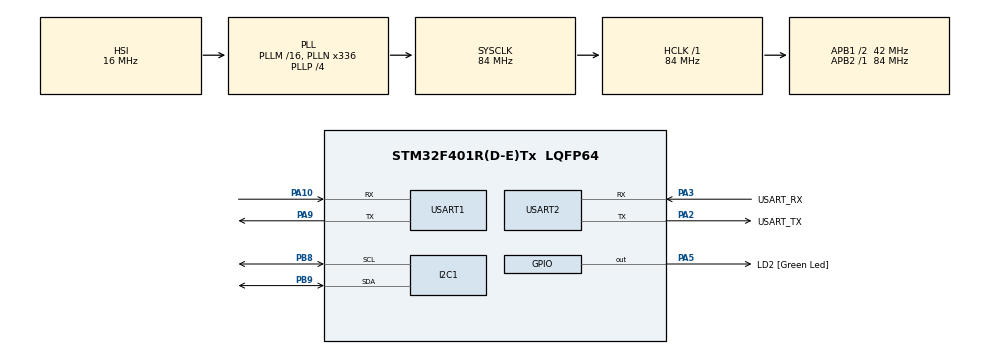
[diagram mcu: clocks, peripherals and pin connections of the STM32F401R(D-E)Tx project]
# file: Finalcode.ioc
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Mcu.Family=STM32F4
Mcu.Name=STM32F401R(D-E)Tx
Mcu.Package=LQFP64
NVIC.PriorityGroup=NVIC_PRIORITYGROUP_0
PA10.Mode=Asynchronous
PA10.Signal=USART1_RX
PA13.GPIO_Label=TMS
PA13.Mode=Serial_Wire
PA13.Signal=SYS_JTMS-SWDIO
PA14.GPIO_Label=TCK
PA14.Mode=Serial_Wire
PA14.Signal=SYS_JTCK-SWCLK
PA2.GPIO_Label=USART_TX
PA2.GPIO_Mode=GPIO_MODE_AF_PP
PA2.GPIO_PuPd=GPIO_NOPULL
PA2.GPIO_Speed=GPIO_SPEED_FREQ_LOW
PA2.Mode=Asynchronous
PA2.Signal=USART2_TX
PA3.GPIO_Label=USART_RX
PA3.GPIO_Mode=GPIO_MODE_AF_PP
PA3.GPIO_PuPd=GPIO_NOPULL
PA3.GPIO_Speed=GPIO_SPEED_FREQ_LOW
PA3.Mode=Asynchronous
PA3.Signal=USART2_RX
PA5.GPIO_Label=LD2 [Green Led]
PA5.GPIO_Mode=GPIO_MODE_OUTPUT_PP
PA5.GPIO_PuPd=GPIO_NOPULL
PA5.GPIO_Speed=GPIO_SPEED_FREQ_LOW
PA5.Signal=GPIO_Output
PA9.Mode=Asynchronous
PA9.Signal=USART1_TX
PB3.GPIO_Label=SWO
PB3.Signal=SYS_JTDO-SWO
PB8.Mode=I2C
PB8.Signal=I2C1_SCL
PB9.Mode=I2C
PB9.Signal=I2C1_SDA
PC14-OSC32_IN.Mode=LSE-External-Oscillator
PC14-OSC32_IN.Signal=RCC_OSC32_IN
PC15-OSC32_OUT.Mode=LSE-External-Oscillator
PC15-OSC32_OUT.Signal=RCC_OSC32_OUT
PH0\ -\ OSC_IN.Mode=HSE-External-Clock-Source
PH0\ -\ OSC_IN.Signal=RCC_OSC_IN
PH1\ -\ OSC_OUT.Mode=HSE-External-Clock-Source
PH1\ -\ OSC_OUT.Signal=RCC_OSC_OUT
ProjectManager.HeapSize=0x200
ProjectManager.StackSize=0x400
ProjectManager.TargetToolchain=STM32CubeIDE
RCC.48MHZClocksFreq_Value=48000000
RCC.AHBFreq_Value=84000000
RCC.APB1CLKDivider=RCC_HCLK_DIV2
RCC.APB1Freq_Value=42000000
RCC.APB1TimFreq_Value=84000000
RCC.APB2Freq_Value=84000000
RCC.APB2TimFreq_Value=84000000
RCC.CortexFreq_Value=84000000
RCC.HCLKFreq_Value=84000000
RCC.HSE_VALUE=8000000
RCC.HSI_VALUE=16000000
RCC.PLLN=336
RCC.PLLP=RCC_PLLP_DIV4
RCC.PLLQ=7
RCC.SYSCLKFreq_VALUE=84000000
RCC.SYSCLKSource=RCC_SYSCLKSOURCE_PLLCLK
RCC.VCOOutputFreq_Value=336000000
USART1.VirtualMode=VM_ASYNC
USART2.VirtualMode=VM_ASYNC
board=NUCLEO-F401RE

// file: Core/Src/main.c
/* USER CODE BEGIN Header */
/**
  ******************************************************************************
  * @file           : main.c
  * @brief          : Main program body
  ******************************************************************************
  * @attention
  *
  * <h2><center>&copy; Copyright (c) 2021 STMicroelectronics.
  * All rights reserved.</center></h2>
  *
  * This software component is licensed by ST under BSD 3-Clause license,
  * the "License"; You may not use this file except in compliance with the
  * License. You may obtain a copy of the License at:
  *                        opensource.org/licenses/BSD-3-Clause
  *
  ******************************************************************************
  */
/* USER CODE END Header */
#include "main.h"

/* USER CODE BEGIN Includes */
#include <string.h>
/* USER CODE END Includes */

I2C_HandleTypeDef hi2c1;

UART_HandleTypeDef huart1;
UART_HandleTypeDef huart2;

/* USER CODE BEGIN PV */
static const uint8_t HIH7000_ADDR = 0x27 << 1; 							// Use 7-bit address
static const uint8_t MiCS_VZ89_ADDR = 0x70 << 1; 							// Use 7-bit address

/* USER CODE END PV */

void SystemClock_Config(void);
static void MX_GPIO_Init(void);
static void MX_USART2_UART_Init(void);
static void MX_USART1_UART_Init(void);
static void MX_I2C1_Init(void);

int main(void)
{
  /* USER CODE BEGIN 1 */
  HAL_StatusTypeDef ret;

  uint8_t string_buf[50];
  uint8_t string_buf_transmit[50];
  uint8_t data_buf[6];			// HIH7000 requires 4 bytes, MICSVZ89 requires 6 bytes

  uint8_t status = 0;
  int16_t rawTemp = 0;
  int16_t rawHumid = 0;

  float humid = 0;
  float temp = 0;

  unsigned int decHumid = 0;
  unsigned int fracHumid = 0;
  unsigned int decTemp = 0;
  unsigned int fracTemp = 0;

  int tVOC = 200;
  int CO2 = 150;

  /* USER CODE END 1 */

  /* MCU Configuration--------------------------------------------------------*/

  /* Reset of all peripherals, Initializes the Flash interface and the Systick. */
  HAL_Init();

  /* Configure the system clock */
  SystemClock_Config();

  /* Initialize all configured peripherals */
  MX_GPIO_Init();
  MX_USART2_UART_Init();
  MX_USART1_UART_Init();
  MX_I2C1_Init();

  /* Infinite loop */
  /* USER CODE BEGIN WHILE */
  while (1)
  {
	  // ******************************************
	  // RELTATIVE HUMIDITY AND TEMPERATURE SENSING
	  // ******************************************

	  // Manually set what we want to write to the sensor (address)
	  data_buf[0] = 0x00;

	  // Tell HIH7000 that we want to read from the register
	  ret = HAL_I2C_Master_Transmit(&hi2c1, HIH7000_ADDR, data_buf, 1, HAL_MAX_DELAY);
	  HAL_Delay(250);
	  if ( ret != HAL_OK ) {
		  strcpy((char*)string_buf, "{\"status\": \"error\", \"source\": \"nucleo\", \"msg\": \"Temp&Humid: Error Tx\"}\r\n");}
	  else {
		  // Read 4 bytes from the HIH7000 register
		  ret = HAL_I2C_Master_Receive(&hi2c1, HIH7000_ADDR, data_buf, 4, HAL_MAX_DELAY);
		  HAL_Delay(250);
		  if ( ret != HAL_OK ) {
			  strcpy((char*)string_buf, "{\"status\": \"error\", \"source\": \"nucleo\", \"msg\": \"Temp&Humid: Error Rx\"}\r\n");}
		  else {

			  // Process the data

			  // The two leftmost MSB's of buf[0] are the status bits. We need to shift 6 times to the right to get those.
			  status = data_buf[0] >> 6;

			  // The next 14 bits are the raw humidity data bits
			  rawHumid = ((uint16_t)(data_buf[0] & 0x3f) << 8) | data_buf[1];

			  // The next 14 bits are the raw temperature data bits
			  rawTemp = (((uint16_t)data_buf[2] << 6) | (data_buf[3] >> 2));

			  // Process the humidity and temperature data
			  humid = ((float)rawHumid / 16382.0) * 100.0;
			  temp = ((float)rawTemp / 16382.0) * 165.0 - 40.0;

			  // Get the value before and after the decimal point
			  decHumid = (unsigned int) humid;
			  fracHumid = (humid - (float)decHumid)*100;
			  decTemp = (unsigned int) temp;
			  fracTemp = (temp - (float)decTemp)*100;

	  	  }
	  }

	  // **********************
      // VOC AND CO2 SENSING
      // **********************

      // Manually set what we want to write to the sensor (address)
      data_buf[0] = 0x0C;
      data_buf[1] = 0x00;
      data_buf[2] = 0x00;
      data_buf[3] = 0x00;
      data_buf[4] = 0x00;
      data_buf[5] = 0x00;

      // Tell MiCS_VZ89 that we want to read from the register
      ret = HAL_I2C_Master_Transmit(&hi2c1, MiCS_VZ89_ADDR, data_buf, 6, HAL_MAX_DELAY);
      HAL_Delay(250);
      if ( ret != HAL_OK ) {
    	  strcpy((char*)string_buf, "{\"status\": \"error\", \"source\": \"nucleo\", \"msg\": \"CO2&VOC: Error Tx\"}\r\n");}
      else {
           // Read 4 bytes from the HIH7000 register
           ret = HAL_I2C_Master_Receive(&hi2c1, MiCS_VZ89_ADDR, data_buf, 6, HAL_MAX_DELAY);
           HAL_Delay(250);
           if ( ret != HAL_OK ) {
        	   strcpy((char*)string_buf, "{\"status\": \"error\", \"source\": \"nucleo\", \"msg\": \"CO2&VOC: Error Rx\"}\r\n");}
           else {

               // Process the data

               //data_buf[0] = D1, calculating value tVOC

               tVOC     = ((uint16_t)(data_buf[0] - 13)*(1000.0/229));

               //data_buf[1] = D2, calculating value CO2

               CO2   	= ((uint16_t)(data_buf[1] - 13)*(1600.0/229) + 400);

            }
     }

    // Create output string
    sprintf((char*)string_buf, "Status: %u - Humid: %u.%02u % - Temp: %u.%02u - tVOC: %u - CO2: %u  \r\n",
         	(unsigned int) status,decHumid, fracHumid, decTemp, fracTemp, tVOC, CO2);

    sprintf((char*)string_buf, "{\"lokaal\": \"E119\", \"temperature\": %u.%u, \"humidity\": %u.%u, \"co2\": %u, \"VOC\": %u, \"noise\": 0}\r\n",
    																						decTemp, fracTemp, decHumid, fracHumid, CO2, tVOC);

    // Print the output
    	  HAL_UART_Transmit(&huart2, string_buf, strlen((char*)string_buf), HAL_MAX_DELAY);
    	  HAL_UART_Transmit(&huart1, string_buf_transmit, strlen((char*)string_buf_transmit), HAL_MAX_DELAY);
    	  HAL_Delay(500);

    /* USER CODE END WHILE */

  }
}

void SystemClock_Config(void)
{
  RCC_OscInitTypeDef RCC_OscInitStruct = {0};
  RCC_ClkInitTypeDef RCC_ClkInitStruct = {0};

  /** Configure the main internal regulator output voltage
  */
  __HAL_RCC_PWR_CLK_ENABLE();
  __HAL_PWR_VOLTAGESCALING_CONFIG(PWR_REGULATOR_VOLTAGE_SCALE2);
  /** Initializes the RCC Oscillators according to the specified parameters
  * in the RCC_OscInitTypeDef structure.
  */
  RCC_OscInitStruct.OscillatorType = RCC_OSCILLATORTYPE_HSI;
  RCC_OscInitStruct.HSIState = RCC_HSI_ON;
  RCC_OscInitStruct.HSICalibrationValue = RCC_HSICALIBRATION_DEFAULT;
  RCC_OscInitStruct.PLL.PLLState = RCC_PLL_ON;
  RCC_OscInitStruct.PLL.PLLSource = RCC_PLLSOURCE_HSI;
  RCC_OscInitStruct.PLL.PLLM = 16;
  RCC_OscInitStruct.PLL.PLLN = 336;
  RCC_OscInitStruct.PLL.PLLP = RCC_PLLP_DIV4;
  RCC_OscInitStruct.PLL.PLLQ = 7;
  if (HAL_RCC_OscConfig(&RCC_OscInitStruct) != HAL_OK)
  {
    Error_Handler();
  }
  /** Initializes the CPU, AHB and APB buses clocks
  */
  RCC_ClkInitStruct.ClockType = RCC_CLOCKTYPE_HCLK|RCC_CLOCKTYPE_SYSCLK
                              |RCC_CLOCKTYPE_PCLK1|RCC_CLOCKTYPE_PCLK2;
  RCC_ClkInitStruct.SYSCLKSource = RCC_SYSCLKSOURCE_PLLCLK;
  RCC_ClkInitStruct.AHBCLKDivider = RCC_SYSCLK_DIV1;
  RCC_ClkInitStruct.APB1CLKDivider = RCC_HCLK_DIV2;
  RCC_ClkInitStruct.APB2CLKDivider = RCC_HCLK_DIV1;

  if (HAL_RCC_ClockConfig(&RCC_ClkInitStruct, FLASH_LATENCY_2) != HAL_OK)
  {
    Error_Handler();
  }
}

static void MX_I2C1_Init(void)
{

  hi2c1.Instance = I2C1;
  hi2c1.Init.ClockSpeed = 100000;
  hi2c1.Init.DutyCycle = I2C_DUTYCYCLE_2;
  hi2c1.Init.OwnAddress1 = 0;
  hi2c1.Init.AddressingMode = I2C_ADDRESSINGMODE_7BIT;
  hi2c1.Init.DualAddressMode = I2C_DUALADDRESS_DISABLE;
  hi2c1.Init.OwnAddress2 = 0;
  hi2c1.Init.GeneralCallMode = I2C_GENERALCALL_DISABLE;
  hi2c1.Init.NoStretchMode = I2C_NOSTRETCH_DISABLE;
  if (HAL_I2C_Init(&hi2c1) != HAL_OK)
  {
    Error_Handler();
  }

}

static void MX_USART1_UART_Init(void)
{

  huart1.Instance = USART1;
  huart1.Init.BaudRate = 115200;
  huart1.Init.WordLength = UART_WORDLENGTH_8B;
  huart1.Init.StopBits = UART_STOPBITS_1;
  huart1.Init.Parity = UART_PARITY_NONE;
  huart1.Init.Mode = UART_MODE_TX_RX;
  huart1.Init.HwFlowCtl = UART_HWCONTROL_NONE;
  huart1.Init.OverSampling = UART_OVERSAMPLING_16;
  if (HAL_UART_Init(&huart1) != HAL_OK)
  {
    Error_Handler();
  }

}

static void MX_USART2_UART_Init(void)
{

  huart2.Instance = USART2;
  huart2.Init.BaudRate = 115200;
  huart2.Init.WordLength = UART_WORDLENGTH_8B;
  huart2.Init.StopBits = UART_STOPBITS_1;
  huart2.Init.Parity = UART_PARITY_NONE;
  huart2.Init.Mode = UART_MODE_TX_RX;
  huart2.Init.HwFlowCtl = UART_HWCONTROL_NONE;
  huart2.Init.OverSampling = UART_OVERSAMPLING_16;
  if (HAL_UART_Init(&huart2) != HAL_OK)
  {
    Error_Handler();
  }

}

static void MX_GPIO_Init(void)
{
  GPIO_InitTypeDef GPIO_InitStruct = {0};

  /* GPIO Ports Clock Enable */
  __HAL_RCC_GPIOC_CLK_ENABLE();
  __HAL_RCC_GPIOH_CLK_ENABLE();
  __HAL_RCC_GPIOA_CLK_ENABLE();
  __HAL_RCC_GPIOB_CLK_ENABLE();

  /*Configure GPIO pin Output Level */
  HAL_GPIO_WritePin(LD2_GPIO_Port, LD2_Pin, GPIO_PIN_RESET);

  /*Configure GPIO pin : LD2_Pin */
  GPIO_InitStruct.Pin = LD2_Pin;
  GPIO_InitStruct.Mode = GPIO_MODE_OUTPUT_PP;
  GPIO_InitStruct.Pull = GPIO_NOPULL;
  GPIO_InitStruct.Speed = GPIO_SPEED_FREQ_LOW;
  HAL_GPIO_Init(LD2_GPIO_Port, &GPIO_InitStruct);

}

void Error_Handler(void)
{
  __disable_irq();
  while (1)
  {
  }
}

/************************ (C) COPYRIGHT STMicroelectronics *****END OF FILE****/
